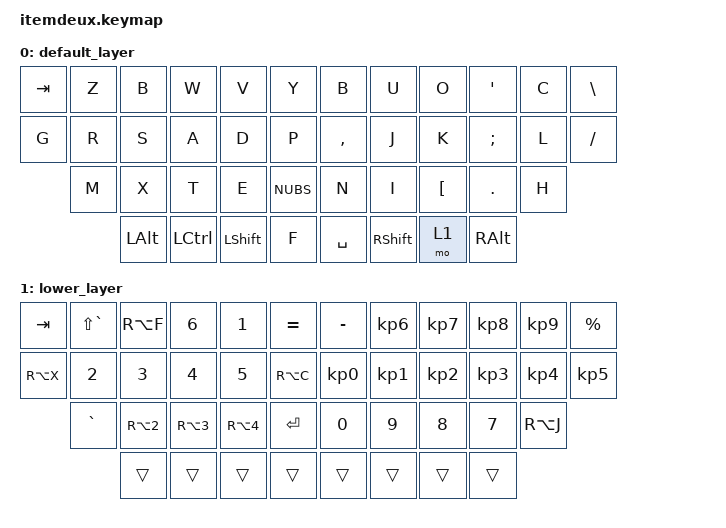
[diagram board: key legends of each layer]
#include <behaviors.dtsi>
#include <dt-bindings/zmk/keys_bepo.h>
#include <dt-bindings/zmk/bt.h>



#define COMBO(NAME, TIME, BINDINGS, KEYPOS) \
  combo_##NAME { \
    timeout-ms = <TIME>; \
    bindings = <BINDINGS>; \
    key-positions = <KEYPOS>; \
  };
//         ______________________      ________________________
//        |0  |1  |2  |3  |4  |5  |    |6  |7  |8  |9  |10 |11 |
//        |12 |13 |14 |15 |16 |17 |    |18 |19 |20 |21 |22 |23 |
//            |24 |25 |26 |27 |28 |    |29 |30 |31 |32 |33 |
//            ‾‾‾‾|34 |35 |36 |37 |    |38 |39 |40 |41 |‾‾‾‾               
//                 ‾‾‾‾‾‾‾‾‾‾‾‾‾‾‾      ‾‾‾‾‾‾‾‾‾‾‾‾‾‾‾‾
/ {
        combos {
                compatible = "zmk,combos";

                COMBO(circonflexe, 70, &kp Y, 31 32)
                COMBO(tiret, 70, &kp N8, 30 31)
                COMBO(w, 70, &kp RBKT, 9 10)                

                COMBO(fleche_haut, 50, &kp UP, 3 15)
                COMBO(fleche_bas, 50, &kp DOWN, 15 26)
                COMBO(fleche_gauche, 50, &kp LEFT, 12 13)              
                COMBO(fleche_droite, 50, &kp RIGHT, 16 17)

                COMBO(supr, 50, &kp DEL, 4 16)
                COMBO(retour, 50, &kp BSPC, 18 19)
                COMBO(retour_bis, 50, &kp BSPC, 5 17)
                COMBO(enter_un, 80, &kp ENTER, 13 14 15 16)
                COMBO(enter_two, 80, &kp ENTER, 14 15 16)
                COMBO(esc, 50, &kp ESC, 0 1)

                COMBO(ctrl_z, 50, &kp LC(LBKT), 24 25)
                COMBO(ctrl_c, 50, &kp LC(H), 25 26)
                COMBO(ctrl_v, 50, &kp LC(U), 26 27)
                COMBO(ctrl_s, 50, &kp LC(K), 4 5) 

//                COMBO(lower, 100, &mo 1, 40 42)

        };

    keymap {
        compatible = "zmk,keymap";

        default_layer {

            bindings = <
&kp TAB	    &kp Z	     &kp B	   &kp W	 &kp V     &kp Y              &kp B	      &kp U	     &kp O	   &kp APOS	 &kp C	&kp BSLH
&kp G	    &kp R	     &kp S	   &kp A	 &kp D	   &kp P              &kp COMMA   &kp J	     &kp K	   &kp SEMI	 &kp L	&kp SLASH
            &kp M	     &kp X	   &kp T	 &kp E	   &kp NUBS           &kp N	      &kp I	     &kp LBKT  &kp DOT   &kp H	
                         &kp LALT  &kp LCTRL &kp LSHFT &kp F	      &kp SPACE   &kp RSHFT  &mo 1	   &kp RALT
            >;      
        };

		lower_layer {
		
			bindings = <
&kp TAB	    &kp LS(GRAVE) &kp RA(F)	  &kp N6	    &kp N1 	   &kp EQUAL	  &kp MINUS  &kp KP_N6  &kp KP_N7   &kp KP_N8  &kp KP_N9	 &kp PRCNT
&kp RA(X)   &kp N2	      &kp N3	  &kp N4	    &kp N5     &kp RA(C)      &kp KP_N0  &kp KP_N1  &kp KP_N2   &kp KP_N3  &kp KP_N4	 &kp KP_N5
            &kp GRAVE     &kp RA(N2)  &kp RA(N3)    &kp RA(N4) &kp ENTER      &kp N0	  &kp N9     &kp N8	     &kp N7	    &kp RA(J)   
                          &trans      &trans        &trans     &trans         &trans     &trans     &trans      &trans
        			>;
	    	};

    };
};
